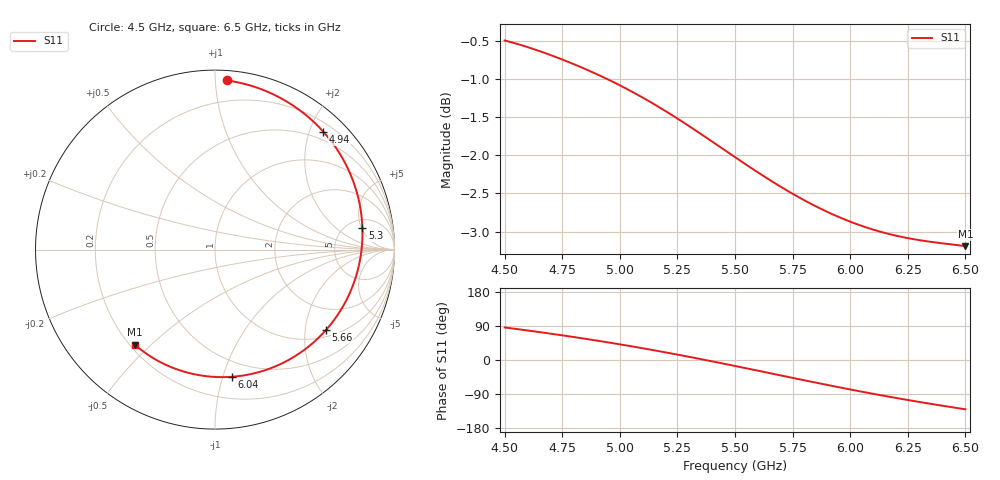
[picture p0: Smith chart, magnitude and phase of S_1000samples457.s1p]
! TOUCHSTONE file generated by CST MICROWAVE STUDIO
! Date and time: Fri Oct 28 05:50:29 2022
! Project name: L.cst
! Parameters = {Di=1.27; Epsilon_r=1.56; InnerDiameter=1.27; Length=2; Lf=10; Lg=60; OuterConductorThickness=0.2921; OuterDiameter=3.6; Wf=3; Wp=41.2; de=1.5; df=6.8; g=0.8; gx=2.60698; gy=2.58654; h=2.34; hf=1.524; px=10.3161; py=8.27211; w=9.7; wx=7.70912; wy=5.68557}
! Header version: 2018
! Port assignment regex: !\s*Touchstone port\s*([0-9]+)\s*=\s*(CST MWS port|CST DS port)\s*([0-9]+|Zmin|Zmax)\s*\(\"(.*)\"\)(\s*mode\s*([0-9]+))?.*
! Touchstone port assignment:
! Touchstone port 1 = CST MWS port 1 ("")
# GHz S DB R 50
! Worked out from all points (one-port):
!   101 points, 4.5 GHz to 6.5 GHz, reference 50 ohm
!   lowest |S11| = -3.2 dB at 6.5 GHz (marker M1), VSWR 5.50, Z = 11 - j22.4 ohm
!   |S11| at or under -10 dB: nowhere
!   S11 on the Smith chart (normalised r, x): 4.5 GHz: 0.06, +1.07; 4.94 GHz: 0.35, +2.24; 5.3 GHz: 6.65, +5.20; 5.66 GHz: 1.21, -2.59; 6.04 GHz: 0.37, -1.07; 6.5 GHz: 0.22, -0.45
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4.5  -0.50 85.9
4.58  -0.56 79.5
4.64  -0.62 74.6
4.76  -0.76 64.2
4.86  -0.88 55.0
4.94  -0.99 47.3
5  -1.08 41.3
5.08  -1.21 33.0
5.14  -1.32 26.6
5.2  -1.42 19.9
5.26  -1.54 13.1
5.3  -1.62 8.4
5.36  -1.74 1.3
5.4  -1.82 -3.5
5.44  -1.90 -8.4
5.5  -2.02 -15.8
5.58  -2.19 -25.8
5.66  -2.34 -35.8
5.76  -2.52 -48.4
5.82  -2.62 -55.9
5.88  -2.71 -63.3
5.94  -2.80 -70.6
6  -2.87 -77.7
6.04  -2.92 -82.4
6.14  -3.01 -93.7
6.26  -3.09 -106.6
6.38  -3.15 -118.7
6.5  -3.19 -130.1
